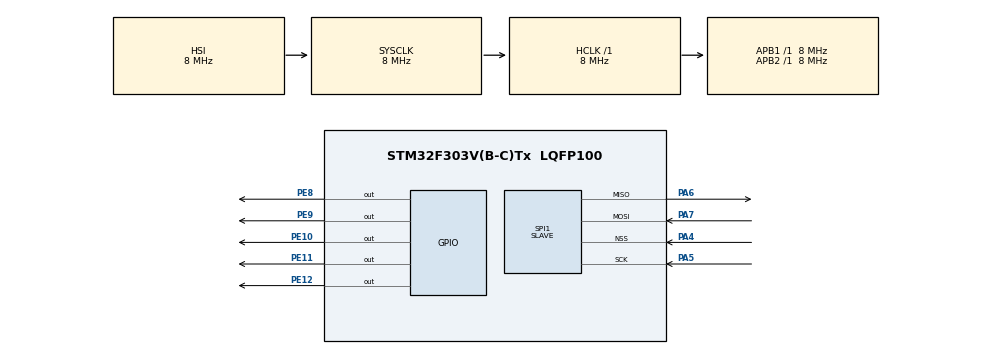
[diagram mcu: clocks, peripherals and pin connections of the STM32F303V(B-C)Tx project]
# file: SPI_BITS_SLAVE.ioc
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Dma.Request0=SPI1_RX
Dma.SPI1_RX.0.Direction=DMA_PERIPH_TO_MEMORY
Dma.SPI1_RX.0.Instance=DMA1_Channel2
Dma.SPI1_RX.0.MemDataAlignment=DMA_MDATAALIGN_BYTE
Dma.SPI1_RX.0.MemInc=DMA_MINC_ENABLE
Dma.SPI1_RX.0.Mode=DMA_NORMAL
Dma.SPI1_RX.0.PeriphDataAlignment=DMA_PDATAALIGN_BYTE
Dma.SPI1_RX.0.PeriphInc=DMA_PINC_DISABLE
Dma.SPI1_RX.0.Priority=DMA_PRIORITY_LOW
Mcu.Family=STM32F3
Mcu.Name=STM32F303V(B-C)Tx
Mcu.Package=LQFP100
NVIC.DMA1_Channel2_IRQn=true\:0\:0\:false\:false\:true\:false\:true
NVIC.PriorityGroup=NVIC_PRIORITYGROUP_4
NVIC.SPI1_IRQn=true\:0\:0\:false\:false\:true\:true\:true
PA4.Mode=NSS_Signal_Hard_Input
PA4.Signal=SPI1_NSS
PA5.Mode=Full_Duplex_Slave
PA5.Signal=SPI1_SCK
PA6.Mode=Full_Duplex_Slave
PA6.Signal=SPI1_MISO
PA7.Mode=Full_Duplex_Slave
PA7.Signal=SPI1_MOSI
PE10.Signal=GPIO_Output
PE11.Signal=GPIO_Output
PE12.Signal=GPIO_Output
PE8.Signal=GPIO_Output
PE9.Signal=GPIO_Output
ProjectManager.HeapSize=0x200
ProjectManager.StackSize=0x400
ProjectManager.TargetToolchain=MDK-ARM V5.27
RCC.AHBFreq_Value=8000000
RCC.APB1Freq_Value=8000000
RCC.APB2Freq_Value=8000000
RCC.CortexFreq_Value=8000000
RCC.HSE_VALUE=8000000
RCC.HSI_VALUE=8000000
RCC.LSE_VALUE=32768
RCC.SYSCLKFreq_VALUE=8000000
SPI1.DataSize=SPI_DATASIZE_8BIT
SPI1.Direction=SPI_DIRECTION_2LINES
SPI1.Mode=SPI_MODE_SLAVE
SPI1.VirtualNSS=VM_NSSHARD
SPI1.VirtualType=VM_SLAVE
VP_CRC_VS_CRC.Mode=CRC_Activate
board=custom

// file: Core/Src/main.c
/* USER CODE BEGIN Header */
/**
  ******************************************************************************
  * @file           : main.c
  * @brief          : Main program body
  ******************************************************************************
  * @attention
  *
  * <h2><center>&copy; Copyright (c) 2023 STMicroelectronics.
  * All rights reserved.</center></h2>
  *
  * This software component is licensed by ST under BSD 3-Clause license,
  * the "License"; You may not use this file except in compliance with the
  * License. You may obtain a copy of the License at:
  *                        opensource.org/licenses/BSD-3-Clause
  *
  ******************************************************************************
  */
/* USER CODE END Header */
#include "main.h"

CRC_HandleTypeDef hcrc;

SPI_HandleTypeDef hspi1;
DMA_HandleTypeDef hdma_spi1_rx;

/* USER CODE BEGIN PV */

enum E_bits{
	e_number1=0x01,
	e_number2=0x02,
	e_number3=0x03,
	e_number4=0x04,

};

  uint8_t broj=0;

  HAL_StatusTypeDef halStatus;

  uint8_t broj2 =0;
	uint8_t aui8Broj[100]={0};
	uint8_t counter=0;

	uint32_t ui32crc=0;

/* USER CODE END PV */

void SystemClock_Config(void);
static void MX_GPIO_Init(void);
static void MX_DMA_Init(void);
static void MX_SPI1_Init(void);
static void MX_CRC_Init(void);
/* USER CODE BEGIN PFP */

	void MCU_Fail(){

		HAL_NVIC_SystemReset();

	}

	void Case_Handler(){

			switch(halStatus){

		case HAL_OK:

	    	ui32crc = HAL_CRC_Calculate(&hcrc ,(uint32_t*) aui8Broj,sizeof(aui8Broj)-4);
		    uint32_t recCrc=*((uint32_t*) (&aui8Broj[96]));

		    if(ui32crc == recCrc) {
			  HAL_GPIO_WritePin(GPIOE,GPIO_PIN_9,GPIO_PIN_SET);
			  }
				else{

			  HAL_GPIO_WritePin(GPIOE,GPIO_PIN_9,GPIO_PIN_RESET);
				counter++;
			  }

				if(counter>5){

					MCU_Fail();
				}

		break;

		case HAL_BUSY:

				HAL_GPIO_WritePin(GPIOE,GPIO_PIN_8,GPIO_PIN_RESET);
				HAL_GPIO_WritePin(GPIOE,GPIO_PIN_9,GPIO_PIN_RESET);
				HAL_GPIO_WritePin(GPIOE,GPIO_PIN_10,GPIO_PIN_SET);
				HAL_GPIO_WritePin(GPIOE,GPIO_PIN_11,GPIO_PIN_RESET);
				HAL_GPIO_WritePin(GPIOE,GPIO_PIN_12,GPIO_PIN_RESET);

		break;

		case HAL_TIMEOUT:

			  HAL_GPIO_WritePin(GPIOE,GPIO_PIN_8,GPIO_PIN_RESET);
				HAL_GPIO_WritePin(GPIOE,GPIO_PIN_9,GPIO_PIN_RESET);
				HAL_GPIO_WritePin(GPIOE,GPIO_PIN_10,GPIO_PIN_RESET);
				HAL_GPIO_WritePin(GPIOE,GPIO_PIN_11,GPIO_PIN_SET);
				HAL_GPIO_WritePin(GPIOE,GPIO_PIN_12,GPIO_PIN_RESET);

		break;

		case HAL_ERROR:

				HAL_GPIO_WritePin(GPIOE,GPIO_PIN_8,GPIO_PIN_RESET);
				HAL_GPIO_WritePin(GPIOE,GPIO_PIN_9,GPIO_PIN_RESET);
				HAL_GPIO_WritePin(GPIOE,GPIO_PIN_10,GPIO_PIN_RESET);
				HAL_GPIO_WritePin(GPIOE,GPIO_PIN_11,GPIO_PIN_RESET);
				HAL_GPIO_WritePin(GPIOE,GPIO_PIN_12,GPIO_PIN_SET);

		break;

		}

	}

	void HAL_SPI_RxCpltCallback(SPI_HandleTypeDef *hspi){

		Case_Handler();
		halStatus=HAL_SPI_Receive_DMA(&hspi1,aui8Broj, sizeof(aui8Broj));

	};

/* USER CODE END PFP */

int main(void)
{

  /* MCU Configuration--------------------------------------------------------*/

  /* Reset of all peripherals, Initializes the Flash interface and the Systick. */
  HAL_Init();

  /* Configure the system clock */
  SystemClock_Config();

  /* Initialize all configured peripherals */
  MX_GPIO_Init();
  MX_DMA_Init();
  MX_SPI1_Init();
  MX_CRC_Init();

  /* Infinite loop */
  /* USER CODE BEGIN WHILE */

		halStatus=HAL_SPI_Receive_DMA(&hspi1,aui8Broj, sizeof(aui8Broj));
  while (1)
  {
    /* USER CODE END WHILE */

	}
}

void SystemClock_Config(void)
{
  RCC_OscInitTypeDef RCC_OscInitStruct = {0};
  RCC_ClkInitTypeDef RCC_ClkInitStruct = {0};

  /** Initializes the RCC Oscillators according to the specified parameters
  * in the RCC_OscInitTypeDef structure.
  */
  RCC_OscInitStruct.OscillatorType = RCC_OSCILLATORTYPE_HSI;
  RCC_OscInitStruct.HSIState = RCC_HSI_ON;
  RCC_OscInitStruct.HSICalibrationValue = RCC_HSICALIBRATION_DEFAULT;
  RCC_OscInitStruct.PLL.PLLState = RCC_PLL_NONE;
  if (HAL_RCC_OscConfig(&RCC_OscInitStruct) != HAL_OK)
  {
    Error_Handler();
  }
  /** Initializes the CPU, AHB and APB buses clocks
  */
  RCC_ClkInitStruct.ClockType = RCC_CLOCKTYPE_HCLK|RCC_CLOCKTYPE_SYSCLK
                              |RCC_CLOCKTYPE_PCLK1|RCC_CLOCKTYPE_PCLK2;
  RCC_ClkInitStruct.SYSCLKSource = RCC_SYSCLKSOURCE_HSI;
  RCC_ClkInitStruct.AHBCLKDivider = RCC_SYSCLK_DIV1;
  RCC_ClkInitStruct.APB1CLKDivider = RCC_HCLK_DIV1;
  RCC_ClkInitStruct.APB2CLKDivider = RCC_HCLK_DIV1;

  if (HAL_RCC_ClockConfig(&RCC_ClkInitStruct, FLASH_LATENCY_0) != HAL_OK)
  {
    Error_Handler();
  }
}

static void MX_CRC_Init(void)
{

  hcrc.Instance = CRC;
  hcrc.Init.DefaultPolynomialUse = DEFAULT_POLYNOMIAL_ENABLE;
  hcrc.Init.DefaultInitValueUse = DEFAULT_INIT_VALUE_ENABLE;
  hcrc.Init.InputDataInversionMode = CRC_INPUTDATA_INVERSION_NONE;
  hcrc.Init.OutputDataInversionMode = CRC_OUTPUTDATA_INVERSION_DISABLE;
  hcrc.InputDataFormat = CRC_INPUTDATA_FORMAT_BYTES;
  if (HAL_CRC_Init(&hcrc) != HAL_OK)
  {
    Error_Handler();
  }

}

static void MX_SPI1_Init(void)
{

  /* SPI1 parameter configuration*/
  hspi1.Instance = SPI1;
  hspi1.Init.Mode = SPI_MODE_SLAVE;
  hspi1.Init.Direction = SPI_DIRECTION_2LINES;
  hspi1.Init.DataSize = SPI_DATASIZE_8BIT;
  hspi1.Init.CLKPolarity = SPI_POLARITY_LOW;
  hspi1.Init.CLKPhase = SPI_PHASE_1EDGE;
  hspi1.Init.NSS = SPI_NSS_HARD_INPUT;
  hspi1.Init.FirstBit = SPI_FIRSTBIT_MSB;
  hspi1.Init.TIMode = SPI_TIMODE_DISABLE;
  hspi1.Init.CRCCalculation = SPI_CRCCALCULATION_DISABLE;
  hspi1.Init.CRCPolynomial = 7;
  hspi1.Init.CRCLength = SPI_CRC_LENGTH_DATASIZE;
  hspi1.Init.NSSPMode = SPI_NSS_PULSE_DISABLE;
  if (HAL_SPI_Init(&hspi1) != HAL_OK)
  {
    Error_Handler();
  }

}

static void MX_DMA_Init(void)
{

  /* DMA controller clock enable */
  __HAL_RCC_DMA1_CLK_ENABLE();

  /* DMA interrupt init */
  /* DMA1_Channel2_IRQn interrupt configuration */
  HAL_NVIC_SetPriority(DMA1_Channel2_IRQn, 0, 0);
  HAL_NVIC_EnableIRQ(DMA1_Channel2_IRQn);

}

static void MX_GPIO_Init(void)
{
  GPIO_InitTypeDef GPIO_InitStruct = {0};

  /* GPIO Ports Clock Enable */
  __HAL_RCC_GPIOA_CLK_ENABLE();
  __HAL_RCC_GPIOE_CLK_ENABLE();

  /*Configure GPIO pin Output Level */
  HAL_GPIO_WritePin(GPIOE, GPIO_PIN_8|GPIO_PIN_9|GPIO_PIN_10|GPIO_PIN_11
                          |GPIO_PIN_12, GPIO_PIN_RESET);

  /*Configure GPIO pins : PE8 PE9 PE10 PE11
                           PE12 */
  GPIO_InitStruct.Pin = GPIO_PIN_8|GPIO_PIN_9|GPIO_PIN_10|GPIO_PIN_11
                          |GPIO_PIN_12;
  GPIO_InitStruct.Mode = GPIO_MODE_OUTPUT_PP;
  GPIO_InitStruct.Pull = GPIO_NOPULL;
  GPIO_InitStruct.Speed = GPIO_SPEED_FREQ_LOW;
  HAL_GPIO_Init(GPIOE, &GPIO_InitStruct);

}

void Error_Handler(void)
{
  __disable_irq();
  while (1)
  {
  }
}

/************************ (C) COPYRIGHT STMicroelectronics *****END OF FILE****/
